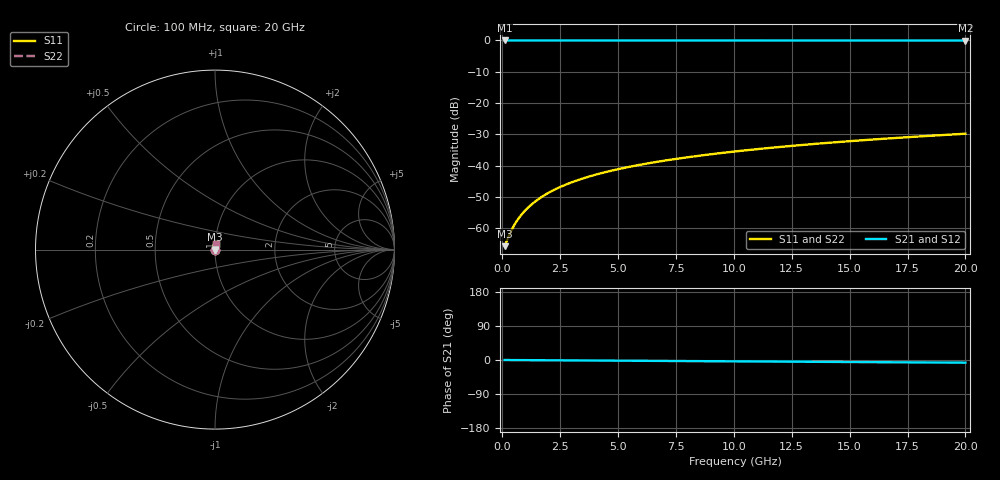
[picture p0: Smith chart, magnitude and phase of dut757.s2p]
! Touchstone file exported from HFSS 2026.1.0
!  File:  C:/ffzhzh/LocalFiles/Ansys_Project_Files/temp_train_TSV_757_1783183174_55132.aedt
!  Generated:  12:41:15 AM Jul  5, 2026
!  Design:  TSV
!  Project:  temp_train_TSV_757_1783183174_55132
! Variables:
!  h_bsmrdl = 2um
!  h_ox = 20um
!  h_rdl = 5um
!  h_sub = 70.4um
!  h_tmrdl = 5um
!  h_tsv = 70.4um
!  h_via = 3um
!  l_bsmrdl = 300um
!  l_sub = 408.58um
!  l_tmrdl = 200um
!  m_sub = 200um
!  pitch = 25.13um
!  r_tsv = 4.29um
!  s_tmrdl = 10um
!  w_bsmrdl = 18um
!  w_sub = 500um
!  w_tmrdl = 12um
!  x_tsv_center1 = 206um
!  x_tsv_center2 = 524um
!  x_tsv_center3 = 736um
!  x_tsv_center4 = 1054um
!  x_tsv_center5 = 1266um
!  x_tsv_center6 = 1584um
# GHz S MA R 50.000000
! Terminal data exported
! Port[1] = TSV1_1_T1
! Port[2] = TSV1_1_T2
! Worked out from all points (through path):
!   200 points, 100 MHz to 20 GHz, reference 50 ohm
!   highest |S21| = 0.00 dB at 100 MHz (marker M1); lowest = 0.0 dB at 20 GHz (marker M2)
!   lowest |S11| = -65.8 dB at 100 MHz (marker M3), VSWR 1.00, Z = 50 + j0.0203 ohm
!   |S11| at or under -10 dB: start of sweep to end of sweep
!   |S22| runs from -65.8 to -29.8 dB; largest |S21 - S12| = 1.1e-15
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0.1  0.000513 23.2  0.9995 -0.0  0.9995 -0.0  0.000513 23.2
! Gamma 0 0 0 0
! Port Impedance 50 0 50 0
0.3  0.0007726 49.4  0.9995 -0.1  0.9995 -0.1  0.0007726 49.4
0.4  0.000928 56.0  0.9995 -0.1  0.9995 -0.1  0.000928 56.0
0.5  0.001088 60.7  0.9995 -0.2  0.9995 -0.2  0.001088 60.7
0.6  0.001252 64.2  0.9995 -0.2  0.9995 -0.2  0.001252 64.2
0.7  0.001419 66.9  0.9994 -0.3  0.9994 -0.3  0.001419 66.9
0.9  0.001757 70.8  0.9994 -0.3  0.9994 -0.3  0.001757 70.8
1.1  0.002101 73.4  0.9994 -0.4  0.9994 -0.4  0.002101 73.4
1.3  0.002448 75.2  0.9994 -0.5  0.9994 -0.5  0.002448 75.2
1.7  0.003145 77.6  0.9993 -0.6  0.9993 -0.6  0.003145 77.6
2.2  0.004016 79.2  0.9993 -0.8  0.9993 -0.8  0.004016 79.2
2.8  0.005052 80.1  0.9992 -1.0  0.9992 -1.0  0.005052 80.1
3.5  0.006244 80.7  0.9991 -1.3  0.9991 -1.3  0.006244 80.7
4.2  0.007416 80.9  0.999 -1.5  0.999 -1.5  0.007416 80.9
5  0.008734 81.1  0.9989 -1.8  0.9989 -1.8  0.008734 81.1
5.9  0.0102 81.1  0.9987 -2.1  0.9987 -2.1  0.0102 81.1
6.8  0.01164 81.1  0.9986 -2.4  0.9986 -2.4  0.01164 81.1
8.3  0.01402 81.1  0.9984 -3.0  0.9984 -3.0  0.01402 81.1
10.1  0.01685 80.9  0.9982 -3.6  0.9982 -3.6  0.01685 80.9
13.4  0.02201 80.4  0.9979 -4.7  0.9979 -4.7  0.02201 80.4
16.7  0.02714 79.7  0.9976 -5.9  0.9976 -5.9  0.02714 79.7
20  0.03223 78.9  0.9972 -7.0  0.9972 -7.0  0.03223 78.9
